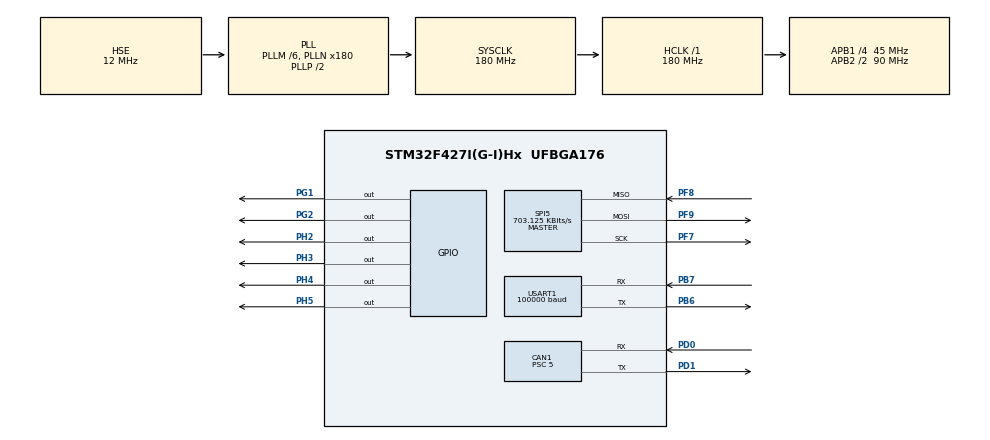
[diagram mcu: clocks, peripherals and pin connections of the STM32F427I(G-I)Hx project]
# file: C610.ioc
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CAN1.ABOM=ENABLE
CAN1.BS1=CAN_BS1_3TQ
CAN1.BS2=CAN_BS2_5TQ
CAN1.CalculateTimeQuantum=111.11111111111111
CAN1.Prescaler=5
CAN1.SJW=CAN_SJW_1TQ
Dma.Request0=USART1_RX
Dma.USART1_RX.0.Direction=DMA_PERIPH_TO_MEMORY
Dma.USART1_RX.0.FIFOMode=DMA_FIFOMODE_DISABLE
Dma.USART1_RX.0.Instance=DMA2_Stream2
Dma.USART1_RX.0.MemDataAlignment=DMA_MDATAALIGN_BYTE
Dma.USART1_RX.0.MemInc=DMA_MINC_ENABLE
Dma.USART1_RX.0.Mode=DMA_CIRCULAR
Dma.USART1_RX.0.PeriphDataAlignment=DMA_PDATAALIGN_BYTE
Dma.USART1_RX.0.PeriphInc=DMA_PINC_DISABLE
Dma.USART1_RX.0.Priority=DMA_PRIORITY_LOW
FREERTOS.Tasks01=shooterTask,24,1024,shooter_task,Default,NULL,Dynamic,NULL,NULL;chasisTask,24,1024,chassis_task,Default,NULL,Dynamic,NULL,NULL;tripodTask,24,256,tripod_task,Default,NULL,Dynamic,NULL,NULL;LEDTask,24,256,LED_task,Default,NULL,Dynamic,NULL,NULL;powerdispTask,8,256,Power_display_task,Default,NULL,Dynamic,NULL,NULL
Mcu.Family=STM32F4
Mcu.Name=STM32F427I(G-I)Hx
Mcu.Package=UFBGA176
Mcu.UserConstants=PWM_FREQUENCE,50;PWM_RESOLUTION,10000;APB1_TIMER_CLOCKS,84000000;PWM_DEFAULT_DUTY,5000;APB2_TIMER_CLOCKS,168000000;TIM_PSC_APB1,((APB1_TIMER_CLOCKS/PWM_FREQUENCE)/PWM_RESOLUTION -1);TIM_PSC_APB2,((APB2_TIMER_CLOCKS/PWM_FREQUENCE)/PWM_RESOLUTION -1)
NVIC.CAN1_RX0_IRQn=true\:5\:0\:false\:false\:true\:true\:true\:true
NVIC.DMA2_Stream2_IRQn=true\:5\:0\:false\:false\:true\:true\:false\:true
NVIC.PriorityGroup=NVIC_PRIORITYGROUP_4
NVIC.USART1_IRQn=true\:5\:0\:false\:false\:true\:true\:true\:true
PA13.Mode=Serial_Wire
PA13.Signal=SYS_JTMS-SWDIO
PA14.Mode=Serial_Wire
PA14.Signal=SYS_JTCK-SWCLK
PB6.Mode=Asynchronous
PB6.Signal=USART1_TX
PB7.Mode=Asynchronous
PB7.Signal=USART1_RX
PD0.Mode=Master
PD0.Signal=CAN1_RX
PD1.Mode=Master
PD1.Signal=CAN1_TX
PF7.Mode=Full_Duplex_Master
PF7.Signal=SPI5_SCK
PF8.Mode=Full_Duplex_Master
PF8.Signal=SPI5_MISO
PF9.Mode=Full_Duplex_Master
PF9.Signal=SPI5_MOSI
PG1.Signal=GPIO_Output
PG2.Signal=GPIO_Output
PH0/OSC_IN.Mode=HSE-External-Oscillator
PH0/OSC_IN.Signal=RCC_OSC_IN
PH1/OSC_OUT.Mode=HSE-External-Oscillator
PH1/OSC_OUT.Signal=RCC_OSC_OUT
PH2.Signal=GPIO_Output
PH3.Signal=GPIO_Output
PH4.Signal=GPIO_Output
PH5.Signal=GPIO_Output
ProjectManager.HeapSize=0x200
ProjectManager.StackSize=0x400
ProjectManager.TargetToolchain=MDK-ARM V5
RCC.48MHZClocksFreq_Value=90000000
RCC.AHBFreq_Value=180000000
RCC.APB1CLKDivider=RCC_HCLK_DIV4
RCC.APB1Freq_Value=45000000
RCC.APB1TimFreq_Value=90000000
RCC.APB2CLKDivider=RCC_HCLK_DIV2
RCC.APB2Freq_Value=90000000
RCC.APB2TimFreq_Value=180000000
RCC.CortexFreq_Value=180000000
RCC.HCLKFreq_Value=180000000
RCC.HSE_VALUE=12000000
RCC.HSI_VALUE=16000000
RCC.LSE_VALUE=32768
RCC.PLLM=6
RCC.PLLN=180
RCC.PLLSourceVirtual=RCC_PLLSOURCE_HSE
RCC.SYSCLKFreq_VALUE=180000000
RCC.SYSCLKSource=RCC_SYSCLKSOURCE_PLLCLK
RCC.VCOOutputFreq_Value=360000000
SPI5.BaudRatePrescaler=SPI_BAUDRATEPRESCALER_128
SPI5.CalculateBaudRate=703.125 KBits/s
SPI5.Direction=SPI_DIRECTION_2LINES
SPI5.Mode=SPI_MODE_MASTER
SPI5.VirtualType=VM_MASTER
USART1.BaudRate=100000
USART1.Parity=PARITY_EVEN
USART1.VirtualMode=VM_ASYNC
VP_FREERTOS_VS_CMSIS_V2.Mode=CMSIS_V2
board=custom

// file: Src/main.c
/* USER CODE BEGIN Header */
/**
  ******************************************************************************
  * @file           : main.c
  * @brief          : Main program body
  ******************************************************************************
  * @attention
  *
  * <h2><center>&copy; Copyright (c) 2021 STMicroelectronics.
  * All rights reserved.</center></h2>
  *
  * This software component is licensed by ST under BSD 3-Clause license,
  * the "License"; You may not use this file except in compliance with the
  * License. You may obtain a copy of the License at:
  *                        opensource.org/licenses/BSD-3-Clause
  *
  ******************************************************************************
  */
/* USER CODE END Header */

#include "main.h"
#include "cmsis_os.h"
#include "can.h"
#include "dma.h"
#include "spi.h"
#include "usart.h"
#include "gpio.h"

void SystemClock_Config(void);
void MX_FREERTOS_Init(void);

int main(void)
{

  /* MCU Configuration--------------------------------------------------------*/

  /* Reset of all peripherals, Initializes the Flash interface and the Systick. */
  HAL_Init();

  /* Configure the system clock */
  SystemClock_Config();

  /* Initialize all configured peripherals */
  MX_GPIO_Init();
  MX_CAN1_Init();
  MX_DMA_Init();
  MX_USART1_UART_Init();
  MX_SPI5_Init();
  /* USER CODE BEGIN 2 */
	can_filter_init();
	dbus_uart_init();
  /* USER CODE END 2 */

  /* Call init function for freertos objects (in freertos.c) */
  MX_FREERTOS_Init();

  /* Start scheduler */
  osKernelStart();

  /* We should never get here as control is now taken by the scheduler */

  /* Infinite loop */
  while (1)
  {

  }
}

void SystemClock_Config(void)
{
  RCC_OscInitTypeDef RCC_OscInitStruct = {0};
  RCC_ClkInitTypeDef RCC_ClkInitStruct = {0};

  /** Configure the main internal regulator output voltage
  */
  __HAL_RCC_PWR_CLK_ENABLE();
  __HAL_PWR_VOLTAGESCALING_CONFIG(PWR_REGULATOR_VOLTAGE_SCALE1);
  /** Initializes the CPU, AHB and APB busses clocks
  */
  RCC_OscInitStruct.OscillatorType = RCC_OSCILLATORTYPE_HSE;
  RCC_OscInitStruct.HSEState = RCC_HSE_ON;
  RCC_OscInitStruct.PLL.PLLState = RCC_PLL_ON;
  RCC_OscInitStruct.PLL.PLLSource = RCC_PLLSOURCE_HSE;
  RCC_OscInitStruct.PLL.PLLM = 6;
  RCC_OscInitStruct.PLL.PLLN = 180;
  RCC_OscInitStruct.PLL.PLLP = RCC_PLLP_DIV2;
  RCC_OscInitStruct.PLL.PLLQ = 4;
  if (HAL_RCC_OscConfig(&RCC_OscInitStruct) != HAL_OK)
  {
    Error_Handler();
  }
  /** Activate the Over-Drive mode
  */
  if (HAL_PWREx_EnableOverDrive() != HAL_OK)
  {
    Error_Handler();
  }
  /** Initializes the CPU, AHB and APB busses clocks
  */
  RCC_ClkInitStruct.ClockType = RCC_CLOCKTYPE_HCLK|RCC_CLOCKTYPE_SYSCLK
                              |RCC_CLOCKTYPE_PCLK1|RCC_CLOCKTYPE_PCLK2;
  RCC_ClkInitStruct.SYSCLKSource = RCC_SYSCLKSOURCE_PLLCLK;
  RCC_ClkInitStruct.AHBCLKDivider = RCC_SYSCLK_DIV1;
  RCC_ClkInitStruct.APB1CLKDivider = RCC_HCLK_DIV4;
  RCC_ClkInitStruct.APB2CLKDivider = RCC_HCLK_DIV2;

  if (HAL_RCC_ClockConfig(&RCC_ClkInitStruct, FLASH_LATENCY_5) != HAL_OK)
  {
    Error_Handler();
  }
}

void Error_Handler(void)
{
}

/************************ (C) COPYRIGHT STMicroelectronics *****END OF FILE****/

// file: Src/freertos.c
/* USER CODE BEGIN Header */
/**
  ******************************************************************************
  * File Name          : freertos.c
  * Description        : Code for freertos applications
  ******************************************************************************
  * @attention
  *
  * <h2><center>&copy; Copyright (c) 2021 STMicroelectronics.
  * All rights reserved.</center></h2>
  *
  * This software component is licensed by ST under Ultimate Liberty license
  * SLA0044, the "License"; You may not use this file except in compliance with
  * the License. You may obtain a copy of the License at:
  *                             www.st.com/SLA0044
  *
  ******************************************************************************
  */
/* USER CODE END Header */

#include "FreeRTOS.h"
#include "task.h"
#include "main.h"
#include "cmsis_os.h"

/* USER CODE BEGIN PTD */
int16_t power=0;
extern motor_measure_t motor_chassis[7];
extern rc_info_t rc;//remote controller
/* USER CODE END PTD */

osThreadId_t shooterTaskHandle;
osThreadId_t chasisTaskHandle;
osThreadId_t tripodTaskHandle;
osThreadId_t LEDTaskHandle;
osThreadId_t powerdispTaskHandle;

void shooter_task(void *argument);
void chassis_task(void *argument);
void tripod_task(void *argument);
void LED_task(void *argument);
void Power_display_task(void *argument);

void MX_FREERTOS_Init(void); /* (MISRA C 2004 rule 8.1) */

void MX_FREERTOS_Init(void) {
osKernelInitialize();

  /* Create the thread(s) */
  /* definition and creation of shooterTask */
  const osThreadAttr_t shooterTask_attributes = {
    .name = "shooterTask",
    .priority = (osPriority_t) osPriorityNormal,
    .stack_size = 1024
  };
  shooterTaskHandle = osThreadNew(shooter_task, NULL, &shooterTask_attributes);

  /* definition and creation of chasisTask */
  const osThreadAttr_t chasisTask_attributes = {
    .name = "chasisTask",
    .priority = (osPriority_t) osPriorityNormal,
    .stack_size = 1024
  };
  chasisTaskHandle = osThreadNew(chassis_task, NULL, &chasisTask_attributes);

  /* definition and creation of tripodTask */
  const osThreadAttr_t tripodTask_attributes = {
    .name = "tripodTask",
    .priority = (osPriority_t) osPriorityNormal,
    .stack_size = 256
  };
  tripodTaskHandle = osThreadNew(tripod_task, NULL, &tripodTask_attributes);

  /* definition and creation of LEDTask */
  const osThreadAttr_t LEDTask_attributes = {
    .name = "LEDTask",
    .priority = (osPriority_t) osPriorityNormal,
    .stack_size = 256
  };
  LEDTaskHandle = osThreadNew(LED_task, NULL, &LEDTask_attributes);

  /* definition and creation of powerdispTask */
  const osThreadAttr_t powerdispTask_attributes = {
    .name = "powerdispTask",
    .priority = (osPriority_t) osPriorityLow,
    .stack_size = 256
  };
  powerdispTaskHandle = osThreadNew(Power_display_task, NULL, &powerdispTask_attributes);

}

void shooter_task(void *argument)
{
  /* USER CODE BEGIN shooter_task */
	PID_TypeDef motor_2006;
	PID_TypeDef motor_3508_left;
	PID_TypeDef motor_3508_right;

	u16 init_shoot_delay_count=0;

	/*pid initialization*/
	pid_init(&motor_2006);
	pid_init(&motor_3508_left);
	pid_init(&motor_3508_right);

	motor_2006.f_param_init(&motor_2006,PID_Speed,16384,5000,10,0,8000,0,1.5,0.1,0.0);
	motor_3508_left.f_param_init(&motor_3508_left,PID_Speed,20000,20000,10,0,8000,0,4.0,0.0,0.0);
	motor_3508_right.f_param_init(&motor_3508_right,PID_Speed,20000,20000,10,0,8000,0,4.0,0.0,0.0);
  /* Infinite loop */
  for(;;)
  {
		/*设置发射和旋转的速度*/
		switch(rc.sw1)
		{
			case 1:
				motor_2006.target=0;
				motor_3508_left.target=0;
				motor_3508_right.target=0;break;
			case 3:
				motor_2006.target=-3000;
				motor_3508_left.target=-3000;
				motor_3508_right.target=3000;break;
			case 2:
				motor_2006.target=-5000;
				motor_3508_left.target=-3000;
				motor_3508_right.target=3000;break;
		}

//		motor_3508_right.target=-100;

		/*计算PID输出值*/
		motor_2006.f_cal_pid(&motor_2006,motor_chassis[4].speed_rpm);
		motor_3508_left.f_cal_pid(&motor_3508_left,motor_chassis[5].speed_rpm);
		motor_3508_right.f_cal_pid(&motor_3508_right,motor_chassis[6].speed_rpm);

//		if(init_shoot_delay_count>=1000)
//		{
//			init_shoot_delay_count=1000;
//			CAN_cmd_gimbal(motor_2006.output,motor_3508_left.output,motor_3508_right.output,0);
//		}
//		else
//		{
//			CAN_cmd_gimbal(0,motor_3508_left.output,motor_3508_right.output,0);
//		}
//经过测试是可以用的
//		CAN_cmd_gimbal(motor_2006.output,motor_3508_left.output,motor_3508_right.output,0);
			if (init_shoot_delay_count<=5000)
			{
				CAN_cmd_gimbal(0,motor_3508_left.output,motor_3508_right.output,0);
				init_shoot_delay_count++;
			}
			else
			{
				CAN_cmd_gimbal(motor_2006.output,motor_3508_left.output,motor_3508_right.output,0);
				if (rc.sw1==1)
				{
					init_shoot_delay_count=0;
				}
			}
    osDelay(1);
  }
  /* USER CODE END shooter_task */
}

void chassis_task(void *argument)
{
  /* USER CODE BEGIN chassis_task */

	PID_TypeDef chassis_id1;
	PID_TypeDef chassis_id2;
	PID_TypeDef chassis_id3;
	PID_TypeDef chassis_id4;

	int16_t x=0;
	int16_t y=0;
	int16_t raw=0;

	//底盘pid初始化
	HAL_GPIO_WritePin(GPIOH,GPIO_PIN_2,GPIO_PIN_SET);
	HAL_GPIO_WritePin(GPIOH,GPIO_PIN_3,GPIO_PIN_SET);
	HAL_GPIO_WritePin(GPIOH,GPIO_PIN_4,GPIO_PIN_SET);
	HAL_GPIO_WritePin(GPIOH,GPIO_PIN_5,GPIO_PIN_SET);

	pid_init(&chassis_id1);
	pid_init(&chassis_id2);
	pid_init(&chassis_id3);
	pid_init(&chassis_id4);

	chassis_id1.f_param_init(&chassis_id1,PID_Speed,20000,20000,10,0,8000,0,2.0,0.0,0.1);
	chassis_id2.f_param_init(&chassis_id2,PID_Speed,20000,20000,10,0,8000,0,2.0,0.0,0.1);
	chassis_id3.f_param_init(&chassis_id3,PID_Speed,20000,20000,10,0,8000,0,2.0,0.0,0.1);
	chassis_id4.f_param_init(&chassis_id4,PID_Speed,20000,20000,10,0,8000,0,2.0,0.0,0.1);

  /* Infinite loop */
  for(;;)
  {

		x= (int16_t)(1000*rc.ch3/660);//0~1000
		y= (int16_t)(1000*rc.ch1/660);
		raw= (int16_t)(1000*rc.ch4/660);

		//底盘麦轮运动解算
		chassis_id1.target=y-x+raw;
		chassis_id2.target=y+x-raw;
		chassis_id3.target=y-x-raw;
		chassis_id4.target=y+x+raw;

		chassis_id1.f_cal_pid(&chassis_id1,motor_chassis[0].speed_rpm);
		chassis_id2.f_cal_pid(&chassis_id2,motor_chassis[1].speed_rpm);
		chassis_id3.f_cal_pid(&chassis_id3,motor_chassis[2].speed_rpm);
		chassis_id4.f_cal_pid(&chassis_id4,motor_chassis[3].speed_rpm);

		CAN_cmd_chassis(chassis_id1.output, chassis_id2.output, chassis_id3.output, chassis_id4.output);

    osDelay(1);
  }
  /* USER CODE END chassis_task */
}

void tripod_task(void *argument)
{
  /* USER CODE BEGIN tripod_task */
  /* Infinite loop */
  for(;;)
  {
			/**todo:
		 *right switch==0 absolute
     *right switch==1 relative
     *right switvh==2 static
		 *速度环+PWM舵机控制
     */
//		__HAL_TIM_SetCompare(&htim1, TIM_CHANNEL_1, 1450);//PA8 up and down
//    __HAL_TIM_SetCompare(&htim1, TIM_CHANNEL_2, 1450);//PA9
		//CAN 2 12 速度环
//		switch(rc.sw2){
//			case 1:
//				//ist1080
//				break;
//			case 2:
//				//mpu6500
//				break;
//			case 3:
//
//				break;
//		}
    osDelay(1);
  }
  /* USER CODE END tripod_task */
}

void LED_task(void *argument)
{
  /* USER CODE BEGIN LED_task */
	HAL_GPIO_WritePin(GPIOG,GPIO_PIN_2,GPIO_PIN_SET);
  /* Infinite loop */
  for(;;)
  {
		HAL_GPIO_TogglePin(GPIOG,GPIO_PIN_1);
    osDelay(100);
  }
  /* USER CODE END LED_task */
}

void Power_display_task(void *argument)
{
  /* USER CODE BEGIN Power_display_task */
	/**
	 * 用ADC采样电源电压，显示电源电量百分比（做不到）
	 * C板可以直接采样电源电压用于计算但是A板需要加一块板子用来测量电源电压
	 */
	int16_t voltage=24;
	u16 motor_ID=0;
	int16_t sum_current;

  /* Infinite loop */
  for(;;)
  {
		sum_current=0;
		motor_ID=0;
		for(;motor_ID<=7;motor_ID++){
			if(motor_chassis[motor_ID].given_current>=0)
				sum_current=sum_current+motor_chassis[motor_ID].given_current;
			else
				sum_current=sum_current-motor_chassis[motor_ID].given_current;
		}
		power=voltage*sum_current;
		HAL_GPIO_TogglePin(GPIOG,GPIO_PIN_2);
    osDelay(50);
  }
  /* USER CODE END Power_display_task */
}

/************************ (C) COPYRIGHT STMicroelectronics *****END OF FILE****/
